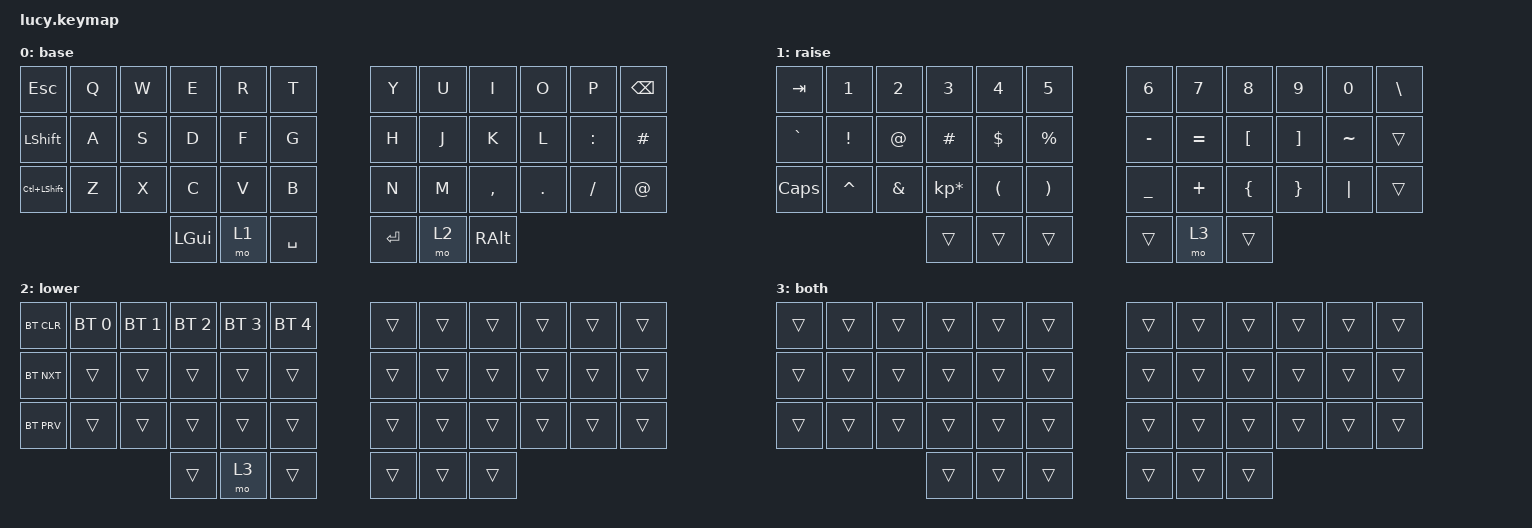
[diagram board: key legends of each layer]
/*
 * Copyright (c) 2020 The ZMK Contributors
 *
 * SPDX-License-Identifier: MIT
 */

#include <behaviors.dtsi>
#include <dt-bindings/zmk/bt.h>
#include <dt-bindings/zmk/keys.h>

// dt-formatter: indent = "  "
// dt-formatter: reindentMultilineIntegerCells = "dedent"

/ {
  behaviors {
    hm: homerow_mods {
      compatible = "zmk,behavior-hold-tap";
      label = "HOMEROW_MODS";
      #binding-cells = <2>;
      tapping-term-ms = <150>;
      quick-tap-ms = <0>;
      flavor = "tap-preferred";
      bindings =
        <&kp>,
        <&kp>;
    };
  };

  combos {
    compatible = "zmk,combos";

    tab {
      bindings = <&trans>;
      key-positions = <2 3>;
    };

    ctrl {
      bindings = <&kp LCTRL>;
      key-positions = <26 27>;
    };

    cmd {
      bindings = <&kp LCMD>;
      key-positions = <37 38>;
    };

    alt {
      bindings = <&kp LEFT_ALT>;
      key-positions = <39 40>;
    };

    shift {
      bindings = <&kp LSHIFT>;
      key-positions = <8 9>;
    };

    caps_word {
      bindings = <&caps_word>;
      key-positions = <17 18>;
    };

    delete {
      bindings = <&kp DEL>;
      key-positions = <32 33>;
    };

    top_layer {
      bindings = <&mo 3>;
      key-positions = <37 40>;
    };
  };

  macros {
    zed_em_kay: zed_em_kay {
      compatible = "zmk,behavior-macro";
      label = "ZM_zed_em_kay";
      #binding-cells = <0>;
      bindings =
        <&macro_press>,
        <&kp LSHFT>,
        <&macro_tap>,
        <&kp Z &kp M &kp K>,
        <&macro_release>,
        <&kp LSHFT>;
    };
  };

  keymap {
    compatible = "zmk,keymap";

    base {
      bindings = <
       &kp ESC  &kp Q  &kp W     &kp E  &kp R      &kp T      &kp Y  &kp U      &kp I    &kp O      &kp P  &kp BACKSPACE
&kp LEFT_SHIFT  &kp A  &kp S     &kp D  &kp F      &kp G      &kp H  &kp J      &kp K    &kp L  &kp COLON       &kp HASH
 &kp LC(LSHFT)  &kp Z  &kp X     &kp C  &kp V      &kp B      &kp N  &kp M  &kp COMMA  &kp DOT   &kp FSLH         &kp AT
                              &kp LGUI  &mo 1  &kp SPACE    &kp RET  &mo 2   &kp RALT
      >;
    };

    raise {
      bindings = <
     &kp TAB           &kp N1         &kp N2           &kp N3                &kp N4                 &kp N5            &kp N6     &kp N7            &kp N8             &kp N9     &kp N0  &kp BACKSLASH
   &kp GRAVE  &kp EXCLAMATION    &kp AT_SIGN        &kp POUND            &kp DOLLAR            &kp PERCENT         &kp MINUS  &kp EQUAL  &kp LEFT_BRACKET  &kp RIGHT_BRACKET  &kp TILDE         &trans
&kp CAPSLOCK        &kp CARET  &kp AMPERSAND  &kp KP_MULTIPLY  &kp LEFT_PARENTHESIS  &kp RIGHT_PARENTHESIS    &kp UNDERSCORE   &kp PLUS    &kp LEFT_BRACE    &kp RIGHT_BRACE   &kp PIPE         &trans
                                                       &trans                &trans                 &trans            &trans      &mo 3            &trans
      >;
    };

    lower {
      bindings = <
&bt BT_CLR  &bt BT_SEL 0  &bt BT_SEL 1  &bt BT_SEL 2  &bt BT_SEL 3  &bt BT_SEL 4    &trans  &trans  &trans  &trans  &trans  &trans
&bt BT_NXT        &trans        &trans        &trans        &trans        &trans    &trans  &trans  &trans  &trans  &trans  &trans
&bt BT_PRV        &trans        &trans        &trans        &trans        &trans    &trans  &trans  &trans  &trans  &trans  &trans
                                              &trans         &mo 3        &trans    &trans  &trans  &trans
      >;
    };

    both {
      bindings = <
&trans  &trans  &trans  &trans  &trans  &trans    &trans  &trans  &trans  &trans  &trans  &trans
&trans  &trans  &trans  &trans  &trans  &trans    &trans  &trans  &trans  &trans  &trans  &trans
&trans  &trans  &trans  &trans  &trans  &trans    &trans  &trans  &trans  &trans  &trans  &trans
                        &trans  &trans  &trans    &trans  &trans  &trans
      >;
    };
  };
};
